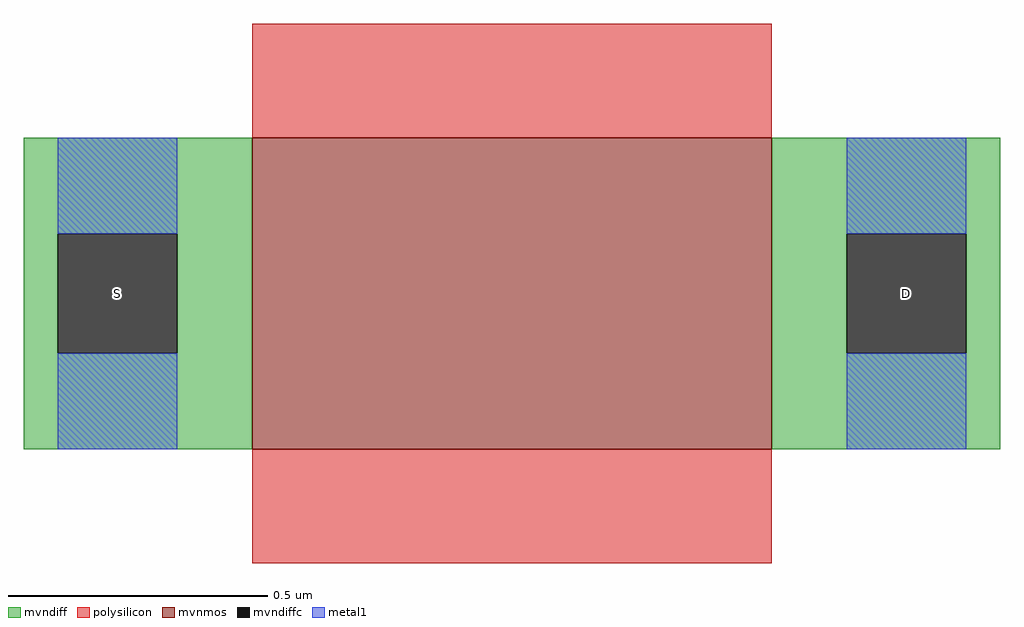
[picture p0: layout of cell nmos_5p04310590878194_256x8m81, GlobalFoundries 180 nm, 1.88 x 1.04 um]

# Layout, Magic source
magic
tech gf180mcuB
magscale 1 10
<< mvnmos >>
rect 0 0 200 120
<< mvndiff >>
rect -88 83 0 120
rect -88 37 -75 83
rect -29 37 0 83
rect -88 0 0 37
rect 200 83 288 120
rect 200 37 229 83
rect 275 37 288 83
rect 200 0 288 37
<< mvndiffc >>
rect -75 37 -29 83
rect 229 37 275 83
<< polysilicon >>
rect 0 120 200 164
rect 0 -44 200 0
<< metal1 >>
rect -75 83 -29 120
rect -75 0 -29 37
rect 229 83 275 120
rect 229 0 275 37
<< labels >>
flabel metal1 s -52 60 -52 60 0 FreeSans 200 0 0 0 S
flabel metal1 s 252 60 252 60 0 FreeSans 200 0 0 0 D
<< properties >>
string GDS_END 1143860
string GDS_FILE $PDKPATH/libs.ref/gf180mcu_fd_ip_sram/gds/gf180mcu_fd_ip_sram__sram256x8m8wm1.gds
string GDS_START 1142836
<< end >>
